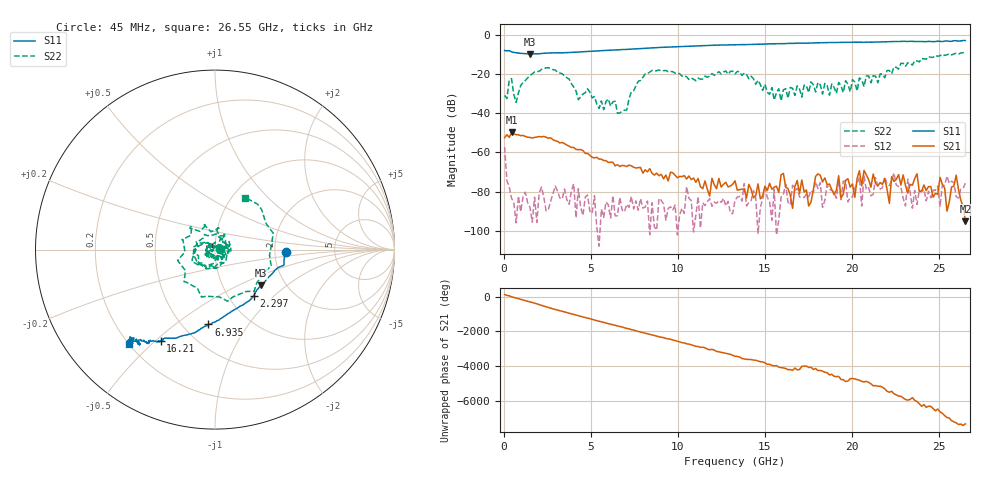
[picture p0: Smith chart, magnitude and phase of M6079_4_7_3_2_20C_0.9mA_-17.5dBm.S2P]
!  2-Port S-parameters saved by WinCal
! VAR MeasName=S-Parameters (CALIBRATED_DATA) read from VNA (C)
! VAR MeasDate=10/5/2015 4:45:38 PM
! VAR NAME=M6079_4_7_3_2_20C_0.9mA_-17.5dBm
! VAR FILENAME=M6079_4_7_3_2_20C_0.9mA_-17.5dBm.S2P
! VAR DATE=10/5/2015 4:45:38 PM
! VAR PHYS_PORTS=2,1
! VAR ObjTypeName=DATASET
! VAR IndexType=Frequency
# Hz S RI R 50
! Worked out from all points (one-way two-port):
!   201 points, 45 MHz to 26.55 GHz, reference 50 ohm
!   highest |S21| = -49.81 dB at 442.5 MHz (marker M1); lowest = -95.1 dB at 26.55 GHz (marker M2)
!   lowest |S11| = -9.8 dB at 1.502 GHz (marker M3), VSWR 1.96, Z = 75.1 - j33.5 ohm
!   |S11| at or under -10 dB: nowhere
!   |S22| runs from -40.1 to -9.2 dB; largest |S21 - S12| = 0.0032
!   S11 on the Smith chart (normalised r, x): 45 MHz: 2.30, -0.08; 2.297 GHz: 1.30, -0.76; 6.935 GHz: 0.66, -0.67; 16.21 GHz: 0.33, -0.52; 26.55 GHz: 0.20, -0.43
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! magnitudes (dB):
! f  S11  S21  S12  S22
! 45 MHz  -8.1  -52.5  -57.3  -30.9
! 177.5 MHz  -8.2  -51.0  -74.5  -32.5
! 442.5 MHz  -8.7  -49.8  -83.3  -22.4
! 707.5 MHz  -9.2  -50.9  -96.0  -34.5
! 1.502 GHz  -9.8  -52.4  -87.9  -20.8
! 2.297 GHz  -9.5  -51.9  -82.8  -17.2
! 4.55 GHz  -8.7  -59.1  -92.2  -30.2
! 6.935 GHz  -7.6  -66.8  -90.4  -38.5
! 8.922 GHz  -6.5  -71.9  -83.5  -18.0
! 13.29 GHz  -5.1  -74.5  -84.5  -20.0
! 15.55 GHz  -4.6  -77.8  -78.7  -33.3
! 16.21 GHz  -4.5  -77.8  -76.2  -27.5
! 17.8 GHz  -4.2  -79.1  -80.6  -25.4
! 18.07 GHz  -4.1  -70.9  -78.5  -24.4
! 20.18 GHz  -3.8  -82.9  -78.5  -24.1
! 20.71 GHz  -3.9  -69.2  -72.0  -26.5
! 22.17 GHz  -3.6  -86.0  -77.0  -18.3
! 23.76 GHz  -3.5  -70.9  -86.6  -13.3
! 23.89 GHz  -3.4  -80.1  -79.3  -13.9
! 25.48 GHz  -3.2  -90.0  -72.1  -10.3
! 26.02 GHz  -3.0  -71.6  -82.6  -9.5
! 26.55 GHz  -3.0  -95.1  -75.7  -9.5
